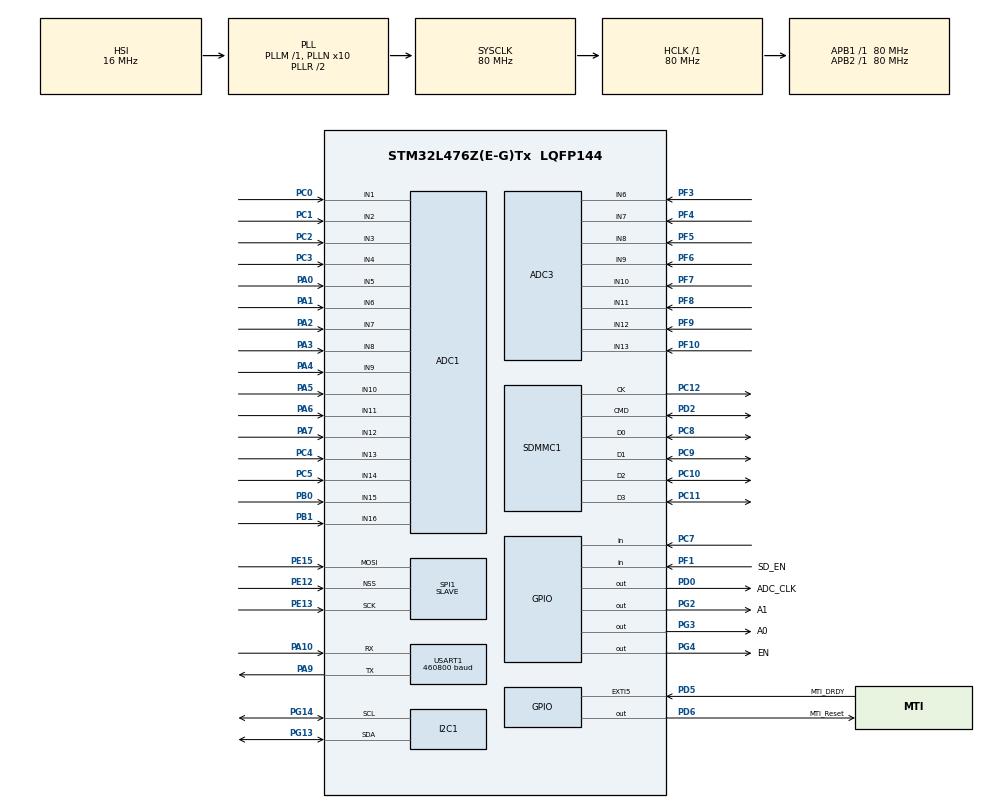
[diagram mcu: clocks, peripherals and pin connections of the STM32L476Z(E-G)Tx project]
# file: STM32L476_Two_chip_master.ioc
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ADC1.Channel-0\#ChannelRegularConversion=ADC_CHANNEL_1
ADC1.Channel-1\#ChannelRegularConversion=ADC_CHANNEL_2
ADC1.Channel-10\#ChannelRegularConversion=ADC_CHANNEL_11
ADC1.Channel-11\#ChannelRegularConversion=ADC_CHANNEL_12
ADC1.Channel-12\#ChannelRegularConversion=ADC_CHANNEL_13
ADC1.Channel-13\#ChannelRegularConversion=ADC_CHANNEL_14
ADC1.Channel-14\#ChannelRegularConversion=ADC_CHANNEL_15
ADC1.Channel-15\#ChannelRegularConversion=ADC_CHANNEL_16
ADC1.Channel-2\#ChannelRegularConversion=ADC_CHANNEL_3
ADC1.Channel-3\#ChannelRegularConversion=ADC_CHANNEL_4
ADC1.Channel-4\#ChannelRegularConversion=ADC_CHANNEL_5
ADC1.Channel-5\#ChannelRegularConversion=ADC_CHANNEL_6
ADC1.Channel-6\#ChannelRegularConversion=ADC_CHANNEL_7
ADC1.Channel-7\#ChannelRegularConversion=ADC_CHANNEL_8
ADC1.Channel-8\#ChannelRegularConversion=ADC_CHANNEL_9
ADC1.Channel-9\#ChannelRegularConversion=ADC_CHANNEL_10
ADC1.DMAContinuousRequests=ENABLE
ADC1.ExternalTrigConv=ADC_EXTERNALTRIG_T2_TRGO
ADC1.NbrOfConversion=16
ADC1.NbrOfConversionFlag=1
ADC1.OffsetNumber-0\#ChannelRegularConversion=ADC_OFFSET_NONE
ADC1.OffsetNumber-1\#ChannelRegularConversion=ADC_OFFSET_NONE
ADC1.OffsetNumber-10\#ChannelRegularConversion=ADC_OFFSET_NONE
ADC1.OffsetNumber-11\#ChannelRegularConversion=ADC_OFFSET_NONE
ADC1.OffsetNumber-12\#ChannelRegularConversion=ADC_OFFSET_NONE
ADC1.OffsetNumber-13\#ChannelRegularConversion=ADC_OFFSET_NONE
ADC1.OffsetNumber-14\#ChannelRegularConversion=ADC_OFFSET_NONE
ADC1.OffsetNumber-15\#ChannelRegularConversion=ADC_OFFSET_NONE
ADC1.OffsetNumber-2\#ChannelRegularConversion=ADC_OFFSET_NONE
ADC1.OffsetNumber-3\#ChannelRegularConversion=ADC_OFFSET_NONE
ADC1.OffsetNumber-4\#ChannelRegularConversion=ADC_OFFSET_NONE
ADC1.OffsetNumber-5\#ChannelRegularConversion=ADC_OFFSET_NONE
ADC1.OffsetNumber-6\#ChannelRegularConversion=ADC_OFFSET_NONE
ADC1.OffsetNumber-7\#ChannelRegularConversion=ADC_OFFSET_NONE
ADC1.OffsetNumber-8\#ChannelRegularConversion=ADC_OFFSET_NONE
ADC1.OffsetNumber-9\#ChannelRegularConversion=ADC_OFFSET_NONE
ADC1.Rank-0\#ChannelRegularConversion=1
ADC1.Rank-1\#ChannelRegularConversion=2
ADC1.Rank-10\#ChannelRegularConversion=11
ADC1.Rank-11\#ChannelRegularConversion=12
ADC1.Rank-12\#ChannelRegularConversion=13
ADC1.Rank-13\#ChannelRegularConversion=14
ADC1.Rank-14\#ChannelRegularConversion=15
ADC1.Rank-15\#ChannelRegularConversion=16
ADC1.Rank-2\#ChannelRegularConversion=3
ADC1.Rank-3\#ChannelRegularConversion=4
ADC1.Rank-4\#ChannelRegularConversion=5
ADC1.Rank-5\#ChannelRegularConversion=6
ADC1.Rank-6\#ChannelRegularConversion=7
ADC1.Rank-7\#ChannelRegularConversion=8
ADC1.Rank-8\#ChannelRegularConversion=9
ADC1.Rank-9\#ChannelRegularConversion=10
ADC1.SamplingTime-0\#ChannelRegularConversion=ADC_SAMPLETIME_2CYCLES_5
ADC1.SamplingTime-1\#ChannelRegularConversion=ADC_SAMPLETIME_2CYCLES_5
ADC1.SamplingTime-10\#ChannelRegularConversion=ADC_SAMPLETIME_2CYCLES_5
ADC1.SamplingTime-11\#ChannelRegularConversion=ADC_SAMPLETIME_2CYCLES_5
ADC1.SamplingTime-12\#ChannelRegularConversion=ADC_SAMPLETIME_2CYCLES_5
ADC1.SamplingTime-13\#ChannelRegularConversion=ADC_SAMPLETIME_2CYCLES_5
ADC1.SamplingTime-14\#ChannelRegularConversion=ADC_SAMPLETIME_2CYCLES_5
ADC1.SamplingTime-15\#ChannelRegularConversion=ADC_SAMPLETIME_2CYCLES_5
ADC1.SamplingTime-2\#ChannelRegularConversion=ADC_SAMPLETIME_2CYCLES_5
ADC1.SamplingTime-3\#ChannelRegularConversion=ADC_SAMPLETIME_2CYCLES_5
ADC1.SamplingTime-4\#ChannelRegularConversion=ADC_SAMPLETIME_2CYCLES_5
ADC1.SamplingTime-5\#ChannelRegularConversion=ADC_SAMPLETIME_2CYCLES_5
ADC1.SamplingTime-6\#ChannelRegularConversion=ADC_SAMPLETIME_2CYCLES_5
ADC1.SamplingTime-7\#ChannelRegularConversion=ADC_SAMPLETIME_2CYCLES_5
ADC1.SamplingTime-8\#ChannelRegularConversion=ADC_SAMPLETIME_2CYCLES_5
ADC1.SamplingTime-9\#ChannelRegularConversion=ADC_SAMPLETIME_2CYCLES_5
ADC1.master=1
ADC3.Channel-0\#ChannelRegularConversion=ADC_CHANNEL_6
ADC3.Channel-1\#ChannelRegularConversion=ADC_CHANNEL_7
ADC3.Channel-2\#ChannelRegularConversion=ADC_CHANNEL_8
ADC3.Channel-3\#ChannelRegularConversion=ADC_CHANNEL_9
ADC3.Channel-4\#ChannelRegularConversion=ADC_CHANNEL_10
ADC3.Channel-5\#ChannelRegularConversion=ADC_CHANNEL_11
ADC3.Channel-6\#ChannelRegularConversion=ADC_CHANNEL_12
ADC3.Channel-7\#ChannelRegularConversion=ADC_CHANNEL_13
ADC3.DMAContinuousRequests=ENABLE
ADC3.ExternalTrigConv=ADC_EXTERNALTRIG_T3_TRGO
ADC3.NbrOfConversion=8
ADC3.NbrOfConversionFlag=1
ADC3.OffsetNumber-0\#ChannelRegularConversion=ADC_OFFSET_NONE
ADC3.OffsetNumber-1\#ChannelRegularConversion=ADC_OFFSET_NONE
ADC3.OffsetNumber-2\#ChannelRegularConversion=ADC_OFFSET_NONE
ADC3.OffsetNumber-3\#ChannelRegularConversion=ADC_OFFSET_NONE
ADC3.OffsetNumber-4\#ChannelRegularConversion=ADC_OFFSET_NONE
ADC3.OffsetNumber-5\#ChannelRegularConversion=ADC_OFFSET_NONE
ADC3.OffsetNumber-6\#ChannelRegularConversion=ADC_OFFSET_NONE
ADC3.OffsetNumber-7\#ChannelRegularConversion=ADC_OFFSET_NONE
ADC3.Rank-0\#ChannelRegularConversion=1
ADC3.Rank-1\#ChannelRegularConversion=2
ADC3.Rank-2\#ChannelRegularConversion=3
ADC3.Rank-3\#ChannelRegularConversion=4
ADC3.Rank-4\#ChannelRegularConversion=5
ADC3.Rank-5\#ChannelRegularConversion=6
ADC3.Rank-6\#ChannelRegularConversion=7
ADC3.Rank-7\#ChannelRegularConversion=8
ADC3.SamplingTime-0\#ChannelRegularConversion=ADC_SAMPLETIME_2CYCLES_5
ADC3.SamplingTime-1\#ChannelRegularConversion=ADC_SAMPLETIME_2CYCLES_5
ADC3.SamplingTime-2\#ChannelRegularConversion=ADC_SAMPLETIME_2CYCLES_5
ADC3.SamplingTime-3\#ChannelRegularConversion=ADC_SAMPLETIME_2CYCLES_5
ADC3.SamplingTime-4\#ChannelRegularConversion=ADC_SAMPLETIME_2CYCLES_5
ADC3.SamplingTime-5\#ChannelRegularConversion=ADC_SAMPLETIME_2CYCLES_5
ADC3.SamplingTime-6\#ChannelRegularConversion=ADC_SAMPLETIME_2CYCLES_5
ADC3.SamplingTime-7\#ChannelRegularConversion=ADC_SAMPLETIME_2CYCLES_5
Dma.ADC1.0.Direction=DMA_PERIPH_TO_MEMORY
Dma.ADC1.0.Instance=DMA1_Channel1
Dma.ADC1.0.MemDataAlignment=DMA_MDATAALIGN_HALFWORD
Dma.ADC1.0.MemInc=DMA_MINC_ENABLE
Dma.ADC1.0.Mode=DMA_NORMAL
Dma.ADC1.0.PeriphDataAlignment=DMA_PDATAALIGN_HALFWORD
Dma.ADC1.0.PeriphInc=DMA_PINC_DISABLE
Dma.ADC1.0.Priority=DMA_PRIORITY_HIGH
Dma.ADC3.1.Direction=DMA_PERIPH_TO_MEMORY
Dma.ADC3.1.Instance=DMA1_Channel3
Dma.ADC3.1.MemDataAlignment=DMA_MDATAALIGN_HALFWORD
Dma.ADC3.1.MemInc=DMA_MINC_ENABLE
Dma.ADC3.1.Mode=DMA_NORMAL
Dma.ADC3.1.PeriphDataAlignment=DMA_PDATAALIGN_HALFWORD
Dma.ADC3.1.PeriphInc=DMA_PINC_DISABLE
Dma.ADC3.1.Priority=DMA_PRIORITY_HIGH
Dma.Request0=ADC1
Dma.Request1=ADC3
Dma.Request2=SDMMC1_RX
Dma.Request3=SDMMC1_TX
Dma.Request4=SPI1_RX
Dma.SDMMC1_RX.2.Direction=DMA_PERIPH_TO_MEMORY
Dma.SDMMC1_RX.2.Instance=DMA2_Channel4
Dma.SDMMC1_RX.2.MemDataAlignment=DMA_MDATAALIGN_WORD
Dma.SDMMC1_RX.2.MemInc=DMA_MINC_ENABLE
Dma.SDMMC1_RX.2.Mode=DMA_NORMAL
Dma.SDMMC1_RX.2.PeriphDataAlignment=DMA_PDATAALIGN_WORD
Dma.SDMMC1_RX.2.PeriphInc=DMA_PINC_DISABLE
Dma.SDMMC1_RX.2.Priority=DMA_PRIORITY_LOW
Dma.SDMMC1_TX.3.Direction=DMA_MEMORY_TO_PERIPH
Dma.SDMMC1_TX.3.Instance=DMA2_Channel5
Dma.SDMMC1_TX.3.MemDataAlignment=DMA_MDATAALIGN_WORD
Dma.SDMMC1_TX.3.MemInc=DMA_MINC_ENABLE
Dma.SDMMC1_TX.3.Mode=DMA_NORMAL
Dma.SDMMC1_TX.3.PeriphDataAlignment=DMA_PDATAALIGN_WORD
Dma.SDMMC1_TX.3.PeriphInc=DMA_PINC_DISABLE
Dma.SDMMC1_TX.3.Priority=DMA_PRIORITY_LOW
Dma.SPI1_RX.4.Direction=DMA_PERIPH_TO_MEMORY
Dma.SPI1_RX.4.Instance=DMA1_Channel2
Dma.SPI1_RX.4.MemDataAlignment=DMA_MDATAALIGN_BYTE
Dma.SPI1_RX.4.MemInc=DMA_MINC_ENABLE
Dma.SPI1_RX.4.Mode=DMA_NORMAL
Dma.SPI1_RX.4.PeriphDataAlignment=DMA_PDATAALIGN_BYTE
Dma.SPI1_RX.4.PeriphInc=DMA_PINC_DISABLE
Dma.SPI1_RX.4.Priority=DMA_PRIORITY_LOW
FATFS.BSP.number=1
FATFS.USE_DMA_CODE_SD=1
FATFS._CODE_PAGE=936
FATFS._USE_LFN=2
FATFS0.BSP.STBoard=false
FATFS0.BSP.api=Unknown
FATFS0.BSP.i2caddr=0
FATFS0.BSP.instance=PC7
FATFS0.BSP.ip=GPIO
FATFS0.BSP.mode=Input
FATFS0.BSP.name=Detect_SDIO
FATFS0.BSP.solution=PC7
I2C1.Timing=0x10909CEC
Mcu.Family=STM32L4
Mcu.Name=STM32L476Z(E-G)Tx
Mcu.Package=LQFP144
NVIC.DMA1_Channel1_IRQn=true\:1\:0\:true\:false\:true\:false\:true
NVIC.DMA1_Channel2_IRQn=true\:2\:0\:true\:false\:true\:false\:true
NVIC.DMA1_Channel3_IRQn=true\:1\:0\:true\:false\:true\:false\:true
NVIC.DMA2_Channel4_IRQn=true\:6\:0\:true\:false\:true\:false\:true
NVIC.DMA2_Channel5_IRQn=true\:6\:0\:true\:false\:true\:false\:true
NVIC.EXTI9_5_IRQn=true\:3\:0\:true\:false\:true\:true\:true
NVIC.PriorityGroup=NVIC_PRIORITYGROUP_4
NVIC.SDMMC1_IRQn=true\:5\:0\:true\:false\:true\:true\:true
NVIC.TIM3_IRQn=true\:0\:0\:false\:false\:true\:true\:true
PA0.Signal=ADCx_IN5
PA1.Signal=ADCx_IN6
PA10.Mode=Asynchronous
PA10.Signal=USART1_RX
PA13\ (JTMS-SWDIO).Mode=Serial_Wire
PA13\ (JTMS-SWDIO).Signal=SYS_JTMS-SWDIO
PA14\ (JTCK-SWCLK).Mode=Serial_Wire
PA14\ (JTCK-SWCLK).Signal=SYS_JTCK-SWCLK
PA2.Signal=ADCx_IN7
PA3.Signal=ADCx_IN8
PA4.Signal=ADCx_IN9
PA5.Signal=ADCx_IN10
PA6.Signal=ADCx_IN11
PA7.Signal=ADCx_IN12
PA9.Mode=Asynchronous
PA9.Signal=USART1_TX
PB0.Signal=ADCx_IN15
PB1.Signal=ADCx_IN16
PC0.Signal=ADCx_IN1
PC1.Signal=ADCx_IN2
PC10.Mode=SD_4_bits_Wide_bus
PC10.Signal=SDMMC1_D2
PC11.Mode=SD_4_bits_Wide_bus
PC11.Signal=SDMMC1_D3
PC12.Mode=SD_4_bits_Wide_bus
PC12.Signal=SDMMC1_CK
PC2.Signal=ADCx_IN3
PC3.Signal=ADCx_IN4
PC4.Signal=ADCx_IN13
PC5.Signal=ADCx_IN14
PC7.Signal=GPIO_Input
PC8.Mode=SD_4_bits_Wide_bus
PC8.Signal=SDMMC1_D0
PC9.Mode=SD_4_bits_Wide_bus
PC9.Signal=SDMMC1_D1
PD0.GPIO_Label=ADC_CLK
PD0.GPIO_PuPd=GPIO_PULLDOWN
PD0.GPIO_Speed=GPIO_SPEED_FREQ_HIGH
PD0.Signal=GPIO_Output
PD2.Mode=SD_4_bits_Wide_bus
PD2.Signal=SDMMC1_CMD
PD5.GPIO_Label=MTI_DRDY
PD5.GPIO_PuPd=GPIO_PULLDOWN
PD5.Signal=GPXTI5
PD6.GPIO_Label=MTI_Reset
PD6.Signal=GPIO_Output
PE12.Mode=NSS_Signal_Hard_Input
PE12.Signal=SPI1_NSS
PE13.Mode=RX_Only_Simplex_Unidirect_Slave
PE13.Signal=SPI1_SCK
PE15.Mode=RX_Only_Simplex_Unidirect_Slave
PE15.Signal=SPI1_MOSI
PF1.GPIO_Label=SD_EN
PF1.Signal=GPIO_Input
PF10.Mode=IN13-Single-Ended
PF10.Signal=ADC3_IN13
PF3.Mode=IN6-Single-Ended
PF3.Signal=ADC3_IN6
PF4.Mode=IN7-Single-Ended
PF4.Signal=ADC3_IN7
PF5.Mode=IN8-Single-Ended
PF5.Signal=ADC3_IN8
PF6.Mode=IN9-Single-Ended
PF6.Signal=ADC3_IN9
PF7.Mode=IN10-Single-Ended
PF7.Signal=ADC3_IN10
PF8.Mode=IN11-Single-Ended
PF8.Signal=ADC3_IN11
PF9.Mode=IN12-Single-Ended
PF9.Signal=ADC3_IN12
PG13.Mode=I2C
PG13.Signal=I2C1_SDA
PG14.Mode=I2C
PG14.Signal=I2C1_SCL
PG2.GPIO_Label=A1
PG2.Signal=GPIO_Output
PG3.GPIO_Label=A0
PG3.Signal=GPIO_Output
PG4.GPIO_Label=EN
PG4.Signal=GPIO_Output
PH0-OSC_IN\ (PH0).Mode=HSE-External-Oscillator
PH0-OSC_IN\ (PH0).Signal=RCC_OSC_IN
PH1-OSC_OUT\ (PH1).Mode=HSE-External-Oscillator
PH1-OSC_OUT\ (PH1).Signal=RCC_OSC_OUT
ProjectManager.HeapSize=0x2000
ProjectManager.StackSize=0x3000
ProjectManager.TargetToolchain=MDK-ARM V5.27
RCC.ADCFreq_Value=80000000
RCC.AHBFreq_Value=80000000
RCC.APB1Freq_Value=80000000
RCC.APB1TimFreq_Value=80000000
RCC.APB2Freq_Value=80000000
RCC.APB2TimFreq_Value=80000000
RCC.CortexFreq_Value=80000000
RCC.HCLKFreq_Value=80000000
RCC.HSE_VALUE=8000000
RCC.HSI_VALUE=16000000
RCC.LSE_VALUE=32768
RCC.MSI_VALUE=4000000
RCC.PLLN=10
RCC.PLLSAI1N=20
RCC.PLLSAI1Q=RCC_PLLQ_DIV8
RCC.PLLSAI1R=RCC_PLLR_DIV4
RCC.PLLSAI2N=20
RCC.PLLSAI2R=RCC_PLLR_DIV4
RCC.PLLSourceVirtual=RCC_PLLSOURCE_HSI
RCC.SYSCLKFreq_VALUE=80000000
RCC.SYSCLKSource=RCC_SYSCLKSOURCE_PLLCLK
RCC.USBFreq_Value=40000000
RCC.VCOOutputFreq_Value=160000000
SDMMC1.ClockDiv=0
SH.ADCx_IN1.0=ADC1_IN1,IN1-Single-Ended
SH.ADCx_IN10.0=ADC1_IN10,IN10-Single-Ended
SH.ADCx_IN11.0=ADC1_IN11,IN11-Single-Ended
SH.ADCx_IN12.0=ADC1_IN12,IN12-Single-Ended
SH.ADCx_IN13.0=ADC1_IN13,IN13-Single-Ended
SH.ADCx_IN14.0=ADC1_IN14,IN14-Single-Ended
SH.ADCx_IN15.0=ADC1_IN15,IN15-Single-Ended
SH.ADCx_IN16.0=ADC1_IN16,IN16-Single-Ended
SH.ADCx_IN2.0=ADC1_IN2,IN2-Single-Ended
SH.ADCx_IN3.0=ADC1_IN3,IN3-Single-Ended
SH.ADCx_IN4.0=ADC1_IN4,IN4-Single-Ended
SH.ADCx_IN5.0=ADC1_IN5,IN5-Single-Ended
SH.ADCx_IN6.0=ADC1_IN6,IN6-Single-Ended
SH.ADCx_IN7.0=ADC1_IN7,IN7-Single-Ended
SH.ADCx_IN8.0=ADC1_IN8,IN8-Single-Ended
SH.ADCx_IN9.0=ADC1_IN9,IN9-Single-Ended
SPI1.DataSize=SPI_DATASIZE_8BIT
SPI1.Direction=SPI_DIRECTION_2LINES_RXONLY
SPI1.Mode=SPI_MODE_SLAVE
SPI1.VirtualNSS=VM_NSSHARD
SPI1.VirtualType=VM_SLAVE
TIM2.Period=199
TIM2.Prescaler=199
TIM2.TIM_MasterOutputTrigger=TIM_TRGO_UPDATE
TIM3.Channel-Output\ Compare4\ No\ Output=TIM_CHANNEL_4
TIM3.Period=99
TIM3.Prescaler=99
TIM3.Pulse-Output\ Compare4\ No\ Output=39
TIM3.TIM_MasterOutputTrigger=TIM_TRGO_UPDATE
USART1.BaudRate=460800
USART1.VirtualMode-Asynchronous=VM_ASYNC
VP_FATFS_VS_SDIO.Mode=SDIO
VP_TIM2_VS_ClockSourceINT.Mode=Internal
VP_TIM3_VS_ClockSourceINT.Mode=Internal
VP_TIM3_VS_no_output4.Mode=Output Compare4 No Output
board=custom

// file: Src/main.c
/* USER CODE BEGIN Header */
/**
  ******************************************************************************
  * @file           : main.c
  * @brief          : Main program body
  ******************************************************************************
  * @attention
  *
  * <h2><center>&copy; Copyright (c) 2020 STMicroelectronics.
  * All rights reserved.</center></h2>
  *
  * This software component is licensed by ST under BSD 3-Clause license,
  * the "License"; You may not use this file except in compliance with the
  * License. You may obtain a copy of the License at:
  *                        opensource.org/licenses/BSD-3-Clause
  *
  ******************************************************************************
  */
/* USER CODE END Header */

#include "main.h"
#include "fatfs.h"

/* USER CODE BEGIN Includes */
#include "ADC.h"
#include "PCSerial.h"
#include "stdio.h"
#include "SDEMGsave.h"
#include "SDsave.h"
#include "MTI_application.h"
#include "xsens_read_IT.h"
/* USER CODE END Includes */

ADC_HandleTypeDef hadc1;
ADC_HandleTypeDef hadc3;
DMA_HandleTypeDef hdma_adc1;
DMA_HandleTypeDef hdma_adc3;

I2C_HandleTypeDef hi2c1;

SD_HandleTypeDef hsd1;
DMA_HandleTypeDef hdma_sdmmc1_rx;
DMA_HandleTypeDef hdma_sdmmc1_tx;

SPI_HandleTypeDef hspi1;
DMA_HandleTypeDef hdma_spi1_rx;

TIM_HandleTypeDef htim2;
TIM_HandleTypeDef htim3;

UART_HandleTypeDef huart1;

void SystemClock_Config(void);
static void MX_GPIO_Init(void);
static void MX_DMA_Init(void);
static void MX_I2C1_Init(void);
static void MX_SDMMC1_SD_Init(void);
static void MX_SPI1_Init(void);
static void MX_USART1_UART_Init(void);
static void MX_TIM3_Init(void);
static void MX_ADC3_Init(void);
static void MX_TIM2_Init(void);
static void MX_ADC1_Init(void);

int main(void)
{

  /* MCU Configuration--------------------------------------------------------*/

  /* Reset of all peripherals, Initializes the Flash interface and the Systick. */
  HAL_Init();

  /* Configure the system clock */
  SystemClock_Config();

  /* Initialize all configured peripherals */
  MX_GPIO_Init();
  MX_DMA_Init();
  MX_I2C1_Init();
  MX_SDMMC1_SD_Init();
  MX_SPI1_Init();
  MX_USART1_UART_Init();
  MX_TIM3_Init();
  MX_ADC3_Init();
  MX_TIM2_Init();
  MX_ADC1_Init();
  MX_FATFS_Init();
  /* USER CODE BEGIN 2 */
	//initialize
	SD_init();
	ADCstart();
//	MTI_init_flag = MTI_init();
  /* USER CODE END 2 */

  /* Infinite loop */
  /* USER CODE BEGIN WHILE */
	int isData = 0;
  while (1)
  {

		if (flag_EMG_TDM & flag_EMG_MCM_Master & flag_EMG_MCM_Slave)
		{

			flag_EMG_TDM = 0;
			flag_EMG_MCM_Master = 0;
			flag_EMG_MCM_Slave = 0;

			//read IMU sensor data to EMGACCs
//			do
//			{
//				isData = MTI_app_run();
//			}while(isData == 0);

			//save EMGACCs data to SD card
			EMGsave_SD(&EMGACCs);

			//add the main cut and judge functions below
			//or put above words in one of the thread if use freeRtos

		}

    /* USER CODE END WHILE */

  }
}

void SystemClock_Config(void)
{
  RCC_OscInitTypeDef RCC_OscInitStruct = {0};
  RCC_ClkInitTypeDef RCC_ClkInitStruct = {0};
  RCC_PeriphCLKInitTypeDef PeriphClkInit = {0};

  /** Initializes the CPU, AHB and APB busses clocks
  */
  RCC_OscInitStruct.OscillatorType = RCC_OSCILLATORTYPE_HSI;
  RCC_OscInitStruct.HSIState = RCC_HSI_ON;
  RCC_OscInitStruct.HSICalibrationValue = RCC_HSICALIBRATION_DEFAULT;
  RCC_OscInitStruct.PLL.PLLState = RCC_PLL_ON;
  RCC_OscInitStruct.PLL.PLLSource = RCC_PLLSOURCE_HSI;
  RCC_OscInitStruct.PLL.PLLM = 1;
  RCC_OscInitStruct.PLL.PLLN = 10;
  RCC_OscInitStruct.PLL.PLLP = RCC_PLLP_DIV7;
  RCC_OscInitStruct.PLL.PLLQ = RCC_PLLQ_DIV2;
  RCC_OscInitStruct.PLL.PLLR = RCC_PLLR_DIV2;
  if (HAL_RCC_OscConfig(&RCC_OscInitStruct) != HAL_OK)
  {
    Error_Handler();
  }
  /** Initializes the CPU, AHB and APB busses clocks
  */
  RCC_ClkInitStruct.ClockType = RCC_CLOCKTYPE_HCLK|RCC_CLOCKTYPE_SYSCLK
                              |RCC_CLOCKTYPE_PCLK1|RCC_CLOCKTYPE_PCLK2;
  RCC_ClkInitStruct.SYSCLKSource = RCC_SYSCLKSOURCE_PLLCLK;
  RCC_ClkInitStruct.AHBCLKDivider = RCC_SYSCLK_DIV1;
  RCC_ClkInitStruct.APB1CLKDivider = RCC_HCLK_DIV1;
  RCC_ClkInitStruct.APB2CLKDivider = RCC_HCLK_DIV1;

  if (HAL_RCC_ClockConfig(&RCC_ClkInitStruct, FLASH_LATENCY_4) != HAL_OK)
  {
    Error_Handler();
  }
  PeriphClkInit.PeriphClockSelection = RCC_PERIPHCLK_USART1|RCC_PERIPHCLK_I2C1
                              |RCC_PERIPHCLK_SDMMC1|RCC_PERIPHCLK_ADC;
  PeriphClkInit.Usart1ClockSelection = RCC_USART1CLKSOURCE_PCLK2;
  PeriphClkInit.I2c1ClockSelection = RCC_I2C1CLKSOURCE_PCLK1;
  PeriphClkInit.AdcClockSelection = RCC_ADCCLKSOURCE_PLLSAI1;
  PeriphClkInit.Sdmmc1ClockSelection = RCC_SDMMC1CLKSOURCE_PLLSAI1;
  PeriphClkInit.PLLSAI1.PLLSAI1Source = RCC_PLLSOURCE_HSI;
  PeriphClkInit.PLLSAI1.PLLSAI1M = 1;
  PeriphClkInit.PLLSAI1.PLLSAI1N = 20;
  PeriphClkInit.PLLSAI1.PLLSAI1P = RCC_PLLP_DIV7;
  PeriphClkInit.PLLSAI1.PLLSAI1Q = RCC_PLLQ_DIV8;
  PeriphClkInit.PLLSAI1.PLLSAI1R = RCC_PLLR_DIV4;
  PeriphClkInit.PLLSAI1.PLLSAI1ClockOut = RCC_PLLSAI1_48M2CLK|RCC_PLLSAI1_ADC1CLK;
  if (HAL_RCCEx_PeriphCLKConfig(&PeriphClkInit) != HAL_OK)
  {
    Error_Handler();
  }
  /** Configure the main internal regulator output voltage
  */
  if (HAL_PWREx_ControlVoltageScaling(PWR_REGULATOR_VOLTAGE_SCALE1) != HAL_OK)
  {
    Error_Handler();
  }
}

static void MX_ADC1_Init(void)
{

  ADC_MultiModeTypeDef multimode = {0};
  ADC_ChannelConfTypeDef sConfig = {0};

  /** Common config
  */
  hadc1.Instance = ADC1;
  hadc1.Init.ClockPrescaler = ADC_CLOCK_ASYNC_DIV1;
  hadc1.Init.Resolution = ADC_RESOLUTION_12B;
  hadc1.Init.DataAlign = ADC_DATAALIGN_RIGHT;
  hadc1.Init.ScanConvMode = ADC_SCAN_ENABLE;
  hadc1.Init.EOCSelection = ADC_EOC_SINGLE_CONV;
  hadc1.Init.LowPowerAutoWait = DISABLE;
  hadc1.Init.ContinuousConvMode = DISABLE;
  hadc1.Init.NbrOfConversion = 16;
  hadc1.Init.DiscontinuousConvMode = DISABLE;
  hadc1.Init.NbrOfDiscConversion = 1;
  hadc1.Init.ExternalTrigConv = ADC_EXTERNALTRIG_T2_TRGO;
  hadc1.Init.ExternalTrigConvEdge = ADC_EXTERNALTRIGCONVEDGE_RISING;
  hadc1.Init.DMAContinuousRequests = ENABLE;
  hadc1.Init.Overrun = ADC_OVR_DATA_PRESERVED;
  hadc1.Init.OversamplingMode = DISABLE;
  if (HAL_ADC_Init(&hadc1) != HAL_OK)
  {
    Error_Handler();
  }
  /** Configure the ADC multi-mode
  */
  multimode.Mode = ADC_MODE_INDEPENDENT;
  if (HAL_ADCEx_MultiModeConfigChannel(&hadc1, &multimode) != HAL_OK)
  {
    Error_Handler();
  }
  /** Configure Regular Channel
  */
  sConfig.Channel = ADC_CHANNEL_1;
  sConfig.Rank = ADC_REGULAR_RANK_1;
  sConfig.SamplingTime = ADC_SAMPLETIME_2CYCLES_5;
  sConfig.SingleDiff = ADC_SINGLE_ENDED;
  sConfig.OffsetNumber = ADC_OFFSET_NONE;
  sConfig.Offset = 0;
  if (HAL_ADC_ConfigChannel(&hadc1, &sConfig) != HAL_OK)
  {
    Error_Handler();
  }
  /** Configure Regular Channel
  */
  sConfig.Channel = ADC_CHANNEL_2;
  sConfig.Rank = ADC_REGULAR_RANK_2;
  if (HAL_ADC_ConfigChannel(&hadc1, &sConfig) != HAL_OK)
  {
    Error_Handler();
  }
  /** Configure Regular Channel
  */
  sConfig.Channel = ADC_CHANNEL_3;
  sConfig.Rank = ADC_REGULAR_RANK_3;
  if (HAL_ADC_ConfigChannel(&hadc1, &sConfig) != HAL_OK)
  {
    Error_Handler();
  }
  /** Configure Regular Channel
  */
  sConfig.Channel = ADC_CHANNEL_4;
  sConfig.Rank = ADC_REGULAR_RANK_4;
  if (HAL_ADC_ConfigChannel(&hadc1, &sConfig) != HAL_OK)
  {
    Error_Handler();
  }
  /** Configure Regular Channel
  */
  sConfig.Channel = ADC_CHANNEL_5;
  sConfig.Rank = ADC_REGULAR_RANK_5;
  if (HAL_ADC_ConfigChannel(&hadc1, &sConfig) != HAL_OK)
  {
    Error_Handler();
  }
  /** Configure Regular Channel
  */
  sConfig.Channel = ADC_CHANNEL_6;
  sConfig.Rank = ADC_REGULAR_RANK_6;
  if (HAL_ADC_ConfigChannel(&hadc1, &sConfig) != HAL_OK)
  {
    Error_Handler();
  }
  /** Configure Regular Channel
  */
  sConfig.Channel = ADC_CHANNEL_7;
  sConfig.Rank = ADC_REGULAR_RANK_7;
  if (HAL_ADC_ConfigChannel(&hadc1, &sConfig) != HAL_OK)
  {
    Error_Handler();
  }
  /** Configure Regular Channel
  */
  sConfig.Channel = ADC_CHANNEL_8;
  sConfig.Rank = ADC_REGULAR_RANK_8;
  if (HAL_ADC_ConfigChannel(&hadc1, &sConfig) != HAL_OK)
  {
    Error_Handler();
  }
  /** Configure Regular Channel
  */
  sConfig.Channel = ADC_CHANNEL_9;
  sConfig.Rank = ADC_REGULAR_RANK_9;
  if (HAL_ADC_ConfigChannel(&hadc1, &sConfig) != HAL_OK)
  {
    Error_Handler();
  }
  /** Configure Regular Channel
  */
  sConfig.Channel = ADC_CHANNEL_10;
  sConfig.Rank = ADC_REGULAR_RANK_10;
  if (HAL_ADC_ConfigChannel(&hadc1, &sConfig) != HAL_OK)
  {
    Error_Handler();
  }
  /** Configure Regular Channel
  */
  sConfig.Channel = ADC_CHANNEL_11;
  sConfig.Rank = ADC_REGULAR_RANK_11;
  if (HAL_ADC_ConfigChannel(&hadc1, &sConfig) != HAL_OK)
  {
    Error_Handler();
  }
  /** Configure Regular Channel
  */
  sConfig.Channel = ADC_CHANNEL_12;
  sConfig.Rank = ADC_REGULAR_RANK_12;
  if (HAL_ADC_ConfigChannel(&hadc1, &sConfig) != HAL_OK)
  {
    Error_Handler();
  }
  /** Configure Regular Channel
  */
  sConfig.Channel = ADC_CHANNEL_13;
  sConfig.Rank = ADC_REGULAR_RANK_13;
  if (HAL_ADC_ConfigChannel(&hadc1, &sConfig) != HAL_OK)
  {
    Error_Handler();
  }
  /** Configure Regular Channel
  */
  sConfig.Channel = ADC_CHANNEL_14;
  sConfig.Rank = ADC_REGULAR_RANK_14;
  if (HAL_ADC_ConfigChannel(&hadc1, &sConfig) != HAL_OK)
  {
    Error_Handler();
  }
  /** Configure Regular Channel
  */
  sConfig.Channel = ADC_CHANNEL_15;
  sConfig.Rank = ADC_REGULAR_RANK_15;
  if (HAL_ADC_ConfigChannel(&hadc1, &sConfig) != HAL_OK)
  {
    Error_Handler();
  }
  /** Configure Regular Channel
  */
  sConfig.Channel = ADC_CHANNEL_16;
  sConfig.Rank = ADC_REGULAR_RANK_16;
  if (HAL_ADC_ConfigChannel(&hadc1, &sConfig) != HAL_OK)
  {
    Error_Handler();
  }

}

static void MX_ADC3_Init(void)
{

  ADC_ChannelConfTypeDef sConfig = {0};

  /** Common config
  */
  hadc3.Instance = ADC3;
  hadc3.Init.ClockPrescaler = ADC_CLOCK_ASYNC_DIV1;
  hadc3.Init.Resolution = ADC_RESOLUTION_12B;
  hadc3.Init.DataAlign = ADC_DATAALIGN_RIGHT;
  hadc3.Init.ScanConvMode = ADC_SCAN_ENABLE;
  hadc3.Init.EOCSelection = ADC_EOC_SINGLE_CONV;
  hadc3.Init.LowPowerAutoWait = DISABLE;
  hadc3.Init.ContinuousConvMode = DISABLE;
  hadc3.Init.NbrOfConversion = 8;
  hadc3.Init.DiscontinuousConvMode = DISABLE;
  hadc3.Init.NbrOfDiscConversion = 1;
  hadc3.Init.ExternalTrigConv = ADC_EXTERNALTRIG_T3_TRGO;
  hadc3.Init.ExternalTrigConvEdge = ADC_EXTERNALTRIGCONVEDGE_RISING;
  hadc3.Init.DMAContinuousRequests = ENABLE;
  hadc3.Init.Overrun = ADC_OVR_DATA_PRESERVED;
  hadc3.Init.OversamplingMode = DISABLE;
  if (HAL_ADC_Init(&hadc3) != HAL_OK)
  {
    Error_Handler();
  }
  /** Configure Regular Channel
  */
  sConfig.Channel = ADC_CHANNEL_6;
  sConfig.Rank = ADC_REGULAR_RANK_1;
  sConfig.SamplingTime = ADC_SAMPLETIME_2CYCLES_5;
  sConfig.SingleDiff = ADC_SINGLE_ENDED;
  sConfig.OffsetNumber = ADC_OFFSET_NONE;
  sConfig.Offset = 0;
  if (HAL_ADC_ConfigChannel(&hadc3, &sConfig) != HAL_OK)
  {
    Error_Handler();
  }
  /** Configure Regular Channel
  */
  sConfig.Channel = ADC_CHANNEL_7;
  sConfig.Rank = ADC_REGULAR_RANK_2;
  if (HAL_ADC_ConfigChannel(&hadc3, &sConfig) != HAL_OK)
  {
    Error_Handler();
  }
  /** Configure Regular Channel
  */
  sConfig.Channel = ADC_CHANNEL_8;
  sConfig.Rank = ADC_REGULAR_RANK_3;
  if (HAL_ADC_ConfigChannel(&hadc3, &sConfig) != HAL_OK)
  {
    Error_Handler();
  }
  /** Configure Regular Channel
  */
  sConfig.Channel = ADC_CHANNEL_9;
  sConfig.Rank = ADC_REGULAR_RANK_4;
  if (HAL_ADC_ConfigChannel(&hadc3, &sConfig) != HAL_OK)
  {
    Error_Handler();
  }
  /** Configure Regular Channel
  */
  sConfig.Channel = ADC_CHANNEL_10;
  sConfig.Rank = ADC_REGULAR_RANK_5;
  if (HAL_ADC_ConfigChannel(&hadc3, &sConfig) != HAL_OK)
  {
    Error_Handler();
  }
  /** Configure Regular Channel
  */
  sConfig.Channel = ADC_CHANNEL_11;
  sConfig.Rank = ADC_REGULAR_RANK_6;
  if (HAL_ADC_ConfigChannel(&hadc3, &sConfig) != HAL_OK)
  {
    Error_Handler();
  }
  /** Configure Regular Channel
  */
  sConfig.Channel = ADC_CHANNEL_12;
  sConfig.Rank = ADC_REGULAR_RANK_7;
  if (HAL_ADC_ConfigChannel(&hadc3, &sConfig) != HAL_OK)
  {
    Error_Handler();
  }
  /** Configure Regular Channel
  */
  sConfig.Channel = ADC_CHANNEL_13;
  sConfig.Rank = ADC_REGULAR_RANK_8;
  if (HAL_ADC_ConfigChannel(&hadc3, &sConfig) != HAL_OK)
  {
    Error_Handler();
  }

}

static void MX_I2C1_Init(void)
{

  hi2c1.Instance = I2C1;
  hi2c1.Init.Timing = 0x10909CEC;
  hi2c1.Init.OwnAddress1 = 0;
  hi2c1.Init.AddressingMode = I2C_ADDRESSINGMODE_7BIT;
  hi2c1.Init.DualAddressMode = I2C_DUALADDRESS_DISABLE;
  hi2c1.Init.OwnAddress2 = 0;
  hi2c1.Init.OwnAddress2Masks = I2C_OA2_NOMASK;
  hi2c1.Init.GeneralCallMode = I2C_GENERALCALL_DISABLE;
  hi2c1.Init.NoStretchMode = I2C_NOSTRETCH_DISABLE;
  if (HAL_I2C_Init(&hi2c1) != HAL_OK)
  {
    Error_Handler();
  }
  /** Configure Analogue filter
  */
  if (HAL_I2CEx_ConfigAnalogFilter(&hi2c1, I2C_ANALOGFILTER_ENABLE) != HAL_OK)
  {
    Error_Handler();
  }
  /** Configure Digital filter
  */
  if (HAL_I2CEx_ConfigDigitalFilter(&hi2c1, 0) != HAL_OK)
  {
    Error_Handler();
  }

}

static void MX_SDMMC1_SD_Init(void)
{

  hsd1.Instance = SDMMC1;
  hsd1.Init.ClockEdge = SDMMC_CLOCK_EDGE_RISING;
  hsd1.Init.ClockBypass = SDMMC_CLOCK_BYPASS_DISABLE;
  hsd1.Init.ClockPowerSave = SDMMC_CLOCK_POWER_SAVE_DISABLE;
  hsd1.Init.BusWide = SDMMC_BUS_WIDE_1B;
  hsd1.Init.HardwareFlowControl = SDMMC_HARDWARE_FLOW_CONTROL_DISABLE;
  hsd1.Init.ClockDiv = 0;

}

static void MX_SPI1_Init(void)
{

  /* SPI1 parameter configuration*/
  hspi1.Instance = SPI1;
  hspi1.Init.Mode = SPI_MODE_SLAVE;
  hspi1.Init.Direction = SPI_DIRECTION_2LINES_RXONLY;
  hspi1.Init.DataSize = SPI_DATASIZE_8BIT;
  hspi1.Init.CLKPolarity = SPI_POLARITY_LOW;
  hspi1.Init.CLKPhase = SPI_PHASE_1EDGE;
  hspi1.Init.NSS = SPI_NSS_HARD_INPUT;
  hspi1.Init.FirstBit = SPI_FIRSTBIT_MSB;
  hspi1.Init.TIMode = SPI_TIMODE_DISABLE;
  hspi1.Init.CRCCalculation = SPI_CRCCALCULATION_DISABLE;
  hspi1.Init.CRCPolynomial = 7;
  hspi1.Init.CRCLength = SPI_CRC_LENGTH_DATASIZE;
  hspi1.Init.NSSPMode = SPI_NSS_PULSE_DISABLE;
  if (HAL_SPI_Init(&hspi1) != HAL_OK)
  {
    Error_Handler();
  }

}

static void MX_TIM2_Init(void)
{

  TIM_ClockConfigTypeDef sClockSourceConfig = {0};
  TIM_MasterConfigTypeDef sMasterConfig = {0};

  htim2.Instance = TIM2;
  htim2.Init.Prescaler = 199;
  htim2.Init.CounterMode = TIM_COUNTERMODE_UP;
  htim2.Init.Period = 199;
  htim2.Init.ClockDivision = TIM_CLOCKDIVISION_DIV1;
  htim2.Init.AutoReloadPreload = TIM_AUTORELOAD_PRELOAD_DISABLE;
  if (HAL_TIM_Base_Init(&htim2) != HAL_OK)
  {
    Error_Handler();
  }
  sClockSourceConfig.ClockSource = TIM_CLOCKSOURCE_INTERNAL;
  if (HAL_TIM_ConfigClockSource(&htim2, &sClockSourceConfig) != HAL_OK)
  {
    Error_Handler();
  }
  sMasterConfig.MasterOutputTrigger = TIM_TRGO_UPDATE;
  sMasterConfig.MasterSlaveMode = TIM_MASTERSLAVEMODE_DISABLE;
  if (HAL_TIMEx_MasterConfigSynchronization(&htim2, &sMasterConfig) != HAL_OK)
  {
    Error_Handler();
  }

}

static void MX_TIM3_Init(void)
{

  TIM_ClockConfigTypeDef sClockSourceConfig = {0};
  TIM_MasterConfigTypeDef sMasterConfig = {0};
  TIM_OC_InitTypeDef sConfigOC = {0};

  htim3.Instance = TIM3;
  htim3.Init.Prescaler = 99;
  htim3.Init.CounterMode = TIM_COUNTERMODE_UP;
  htim3.Init.Period = 99;
  htim3.Init.ClockDivision = TIM_CLOCKDIVISION_DIV1;
  htim3.Init.AutoReloadPreload = TIM_AUTORELOAD_PRELOAD_DISABLE;
  if (HAL_TIM_Base_Init(&htim3) != HAL_OK)
  {
    Error_Handler();
  }
  sClockSourceConfig.ClockSource = TIM_CLOCKSOURCE_INTERNAL;
  if (HAL_TIM_ConfigClockSource(&htim3, &sClockSourceConfig) != HAL_OK)
  {
    Error_Handler();
  }
  if (HAL_TIM_OC_Init(&htim3) != HAL_OK)
  {
    Error_Handler();
  }
  sMasterConfig.MasterOutputTrigger = TIM_TRGO_UPDATE;
  sMasterConfig.MasterSlaveMode = TIM_MASTERSLAVEMODE_DISABLE;
  if (HAL_TIMEx_MasterConfigSynchronization(&htim3, &sMasterConfig) != HAL_OK)
  {
    Error_Handler();
  }
  sConfigOC.OCMode = TIM_OCMODE_TIMING;
  sConfigOC.Pulse = 39;
  sConfigOC.OCPolarity = TIM_OCPOLARITY_HIGH;
  sConfigOC.OCFastMode = TIM_OCFAST_DISABLE;
  if (HAL_TIM_OC_ConfigChannel(&htim3, &sConfigOC, TIM_CHANNEL_4) != HAL_OK)
  {
    Error_Handler();
  }

}

static void MX_USART1_UART_Init(void)
{

  huart1.Instance = USART1;
  huart1.Init.BaudRate = 460800;
  huart1.Init.WordLength = UART_WORDLENGTH_8B;
  huart1.Init.StopBits = UART_STOPBITS_1;
  huart1.Init.Parity = UART_PARITY_NONE;
  huart1.Init.Mode = UART_MODE_TX_RX;
  huart1.Init.HwFlowCtl = UART_HWCONTROL_NONE;
  huart1.Init.OverSampling = UART_OVERSAMPLING_16;
  huart1.Init.OneBitSampling = UART_ONE_BIT_SAMPLE_DISABLE;
  huart1.AdvancedInit.AdvFeatureInit = UART_ADVFEATURE_NO_INIT;
  if (HAL_UART_Init(&huart1) != HAL_OK)
  {
    Error_Handler();
  }

}

static void MX_DMA_Init(void)
{

  /* DMA controller clock enable */
  __HAL_RCC_DMA1_CLK_ENABLE();
  __HAL_RCC_DMA2_CLK_ENABLE();

  /* DMA interrupt init */
  /* DMA1_Channel1_IRQn interrupt configuration */
  HAL_NVIC_SetPriority(DMA1_Channel1_IRQn, 1, 0);
  HAL_NVIC_EnableIRQ(DMA1_Channel1_IRQn);
  /* DMA1_Channel2_IRQn interrupt configuration */
  HAL_NVIC_SetPriority(DMA1_Channel2_IRQn, 2, 0);
  HAL_NVIC_EnableIRQ(DMA1_Channel2_IRQn);
  /* DMA1_Channel3_IRQn interrupt configuration */
  HAL_NVIC_SetPriority(DMA1_Channel3_IRQn, 1, 0);
  HAL_NVIC_EnableIRQ(DMA1_Channel3_IRQn);
  /* DMA2_Channel4_IRQn interrupt configuration */
  HAL_NVIC_SetPriority(DMA2_Channel4_IRQn, 6, 0);
  HAL_NVIC_EnableIRQ(DMA2_Channel4_IRQn);
  /* DMA2_Channel5_IRQn interrupt configuration */
  HAL_NVIC_SetPriority(DMA2_Channel5_IRQn, 6, 0);
  HAL_NVIC_EnableIRQ(DMA2_Channel5_IRQn);

}

static void MX_GPIO_Init(void)
{
  GPIO_InitTypeDef GPIO_InitStruct = {0};

  /* GPIO Ports Clock Enable */
  __HAL_RCC_GPIOF_CLK_ENABLE();
  __HAL_RCC_GPIOH_CLK_ENABLE();
  __HAL_RCC_GPIOC_CLK_ENABLE();
  __HAL_RCC_GPIOA_CLK_ENABLE();
  __HAL_RCC_GPIOB_CLK_ENABLE();
  __HAL_RCC_GPIOE_CLK_ENABLE();
  __HAL_RCC_GPIOG_CLK_ENABLE();
  HAL_PWREx_EnableVddIO2();
  __HAL_RCC_GPIOD_CLK_ENABLE();

  /*Configure GPIO pin Output Level */
  HAL_GPIO_WritePin(GPIOG, A1_Pin|A0_Pin|EN_Pin, GPIO_PIN_RESET);

  /*Configure GPIO pin Output Level */
  HAL_GPIO_WritePin(GPIOD, ADC_CLK_Pin|MTI_Reset_Pin, GPIO_PIN_RESET);

  /*Configure GPIO pin : SD_EN_Pin */
  GPIO_InitStruct.Pin = SD_EN_Pin;
  GPIO_InitStruct.Mode = GPIO_MODE_INPUT;
  GPIO_InitStruct.Pull = GPIO_NOPULL;
  HAL_GPIO_Init(SD_EN_GPIO_Port, &GPIO_InitStruct);

  /*Configure GPIO pins : A1_Pin A0_Pin EN_Pin */
  GPIO_InitStruct.Pin = A1_Pin|A0_Pin|EN_Pin;
  GPIO_InitStruct.Mode = GPIO_MODE_OUTPUT_PP;
  GPIO_InitStruct.Pull = GPIO_NOPULL;
  GPIO_InitStruct.Speed = GPIO_SPEED_FREQ_LOW;
  HAL_GPIO_Init(GPIOG, &GPIO_InitStruct);

  /*Configure GPIO pin : PC7 */
  GPIO_InitStruct.Pin = GPIO_PIN_7;
  GPIO_InitStruct.Mode = GPIO_MODE_INPUT;
  GPIO_InitStruct.Pull = GPIO_NOPULL;
  HAL_GPIO_Init(GPIOC, &GPIO_InitStruct);

  /*Configure GPIO pin : ADC_CLK_Pin */
  GPIO_InitStruct.Pin = ADC_CLK_Pin;
  GPIO_InitStruct.Mode = GPIO_MODE_OUTPUT_PP;
  GPIO_InitStruct.Pull = GPIO_PULLDOWN;
  GPIO_InitStruct.Speed = GPIO_SPEED_FREQ_HIGH;
  HAL_GPIO_Init(ADC_CLK_GPIO_Port, &GPIO_InitStruct);

  /*Configure GPIO pin : MTI_DRDY_Pin */
  GPIO_InitStruct.Pin = MTI_DRDY_Pin;
  GPIO_InitStruct.Mode = GPIO_MODE_IT_RISING;
  GPIO_InitStruct.Pull = GPIO_PULLDOWN;
  HAL_GPIO_Init(MTI_DRDY_GPIO_Port, &GPIO_InitStruct);

  /*Configure GPIO pin : MTI_Reset_Pin */
  GPIO_InitStruct.Pin = MTI_Reset_Pin;
  GPIO_InitStruct.Mode = GPIO_MODE_OUTPUT_PP;
  GPIO_InitStruct.Pull = GPIO_NOPULL;
  GPIO_InitStruct.Speed = GPIO_SPEED_FREQ_LOW;
  HAL_GPIO_Init(MTI_Reset_GPIO_Port, &GPIO_InitStruct);

  /* EXTI interrupt init*/
  HAL_NVIC_SetPriority(EXTI9_5_IRQn, 3, 0);
  HAL_NVIC_EnableIRQ(EXTI9_5_IRQn);

}

void Error_Handler(void)
{
}

/************************ (C) COPYRIGHT STMicroelectronics *****END OF FILE****/
